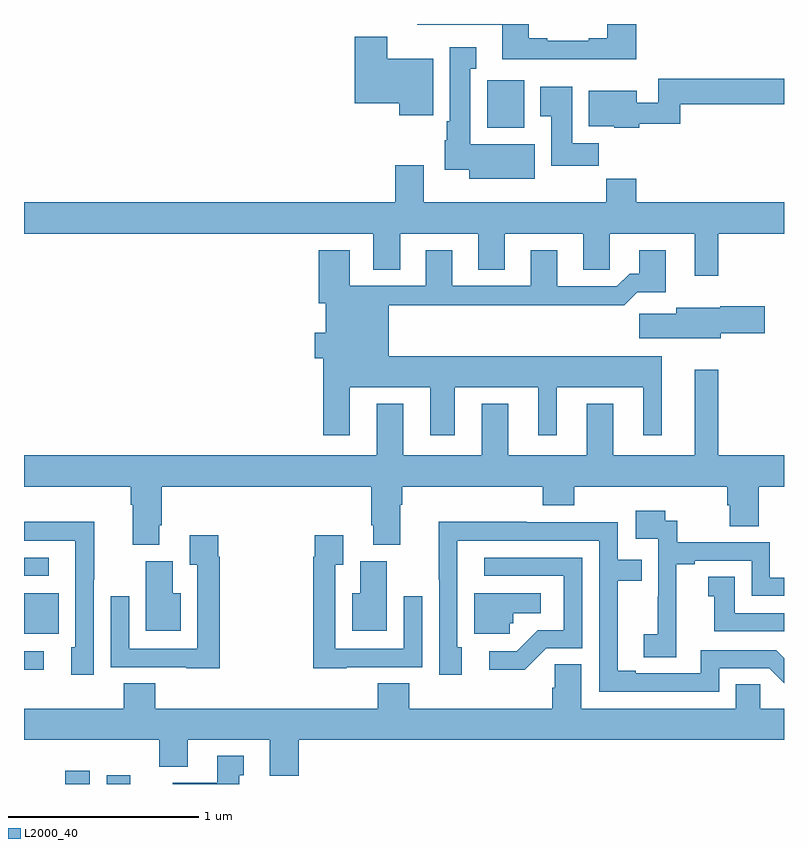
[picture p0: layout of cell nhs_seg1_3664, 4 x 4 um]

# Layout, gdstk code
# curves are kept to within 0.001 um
import gdstk
lib = gdstk.Library(unit=1e-6, precision=1e-09)
def R(c, l, rs):  # rectangles x0, y0, x1, y1
    for r in rs: c.add(gdstk.rectangle(r[:2], r[2:], *l))
def P(c, l, *ps):  # polygons
    for p in ps: c.add(gdstk.Polygon(p, *l))
L2000_40 = (2000, 40)

nhs_seg1_3664 = lib.new_cell('nhs_seg1_3664')
R(nhs_seg1_3664, L2000_40, [(311.216,518.199,311.347,518.269), (311.435,518.199,311.56,518.245), (311,518.801,311.104,518.898), (311,518.991,311.182,519.202), (311,519.294,311.131,519.39), (313.437,521.654,313.633,521.904)])
P(nhs_seg1_3664, L2000_40, [(314.222,522.199),(314.069,522.199),(314.069,522.124),(313.973,522.124),(313.973,522.111),(313.753,522.111),(313.753,522.124),(313.657,522.124),(313.657,522.199),(312.96,522.199),(312.96,522.197),(313.069,522.197),(313.069,522.195),(313.517,522.195),(313.517,522.014),(314.222,522.014)],
  [(313.153,522.016),(312.913,522.016),(312.913,522.132),(312.74,522.132),(312.74,521.783),(312.974,521.783),(312.974,521.72),(313.153,521.72)],
  [(313.687,521.566),(313.348,521.566),(313.348,521.963),(313.381,521.963),(313.381,522.076),(313.241,522.076),(313.241,521.686),(313.226,521.686),(313.226,521.586),(313.214,521.586),(313.214,521.432),(313.343,521.432),(313.343,521.384),(313.687,521.384)],
  [(314.237,521.673),(314.453,521.673),(314.453,521.776),(315,521.776),(315,521.912),(314.337,521.912),(314.337,521.784),(314.224,521.784),(314.224,521.848),(313.973,521.848),(313.973,521.66),(314.106,521.66),(314.106,521.654),(314.237,521.654)],
  [(314.024,521.572),(313.885,521.572),(313.885,521.869),(313.718,521.869),(313.718,521.713),(313.775,521.713),(313.775,521.454),(314.024,521.454)],
  [(314.653,521.096),(315,521.096),(315,521.26),(314.222,521.26),(314.222,521.384),(314.065,521.384),(314.065,521.26),(313.105,521.26),(313.105,521.455),(312.953,521.455),(312.953,521.26),(311,521.26),(311,521.096),(312.839,521.096),(312.839,520.906),(312.979,520.906),(312.979,521.096),(313.391,521.096),(313.391,520.906),(313.531,520.906),(313.531,521.096),(313.943,521.096),(313.943,520.906),(314.082,520.906),(314.082,521.096),(314.531,521.096),(314.531,520.875),(314.653,520.875)],
  [(312.715,520.286),(313.139,520.286),(313.139,520.035),(313.267,520.035),(313.267,520.286),(313.706,520.286),(313.706,520.035),(313.804,520.035),(313.804,520.286),(314.258,520.286),(314.258,520.035),(314.356,520.035),(314.356,520.45),(312.919,520.45),(312.919,520.72),(313.903,520.72),(313.903,520.718),(314.159,520.718),(314.228,520.787),(314.377,520.787),(314.377,521.008),(314.237,521.008),(314.237,520.885),(314.188,520.885),(314.121,520.818),(313.807,520.818),(313.807,521.008),(313.667,521.008),(313.667,520.821),(313.255,520.821),(313.255,521.008),(313.115,521.008),(313.115,520.821),(312.715,520.821),(312.715,521.008),(312.551,521.008),(312.551,520.728),(312.587,520.728),(312.587,520.573),(312.53,520.573),(312.53,520.439),(312.575,520.439),(312.575,520.035),(312.715,520.035)],
  [(314.668,520.571),(314.899,520.571),(314.899,520.713),(314.664,520.713),(314.664,520.705),(314.432,520.705),(314.432,520.673),(314.238,520.673),(314.238,520.544),(314.668,520.544)],
  [(311,519.764),(311.561,519.764),(311.561,519.668),(311.573,519.668),(311.573,519.457),(311.713,519.457),(311.713,519.562),(311.726,519.562),(311.726,519.764),(312.827,519.764),(312.827,519.562),(312.839,519.562),(312.839,519.457),(312.979,519.457),(312.979,519.668),(312.992,519.668),(312.992,519.764),(313.73,519.764),(313.73,519.665),(313.895,519.665),(313.895,519.764),(314.702,519.764),(314.702,519.666),(314.714,519.666),(314.714,519.556),(314.867,519.556),(314.867,519.764),(315,519.764),(315,519.928),(314.653,519.928),(314.653,520.378),(314.531,520.378),(314.531,519.928),(314.101,519.928),(314.101,520.201),(313.961,520.201),(313.961,519.928),(313.549,519.928),(313.549,520.201),(313.409,520.201),(313.409,519.928),(312.997,519.928),(312.997,520.201),(312.857,520.201),(312.857,519.928),(311,519.928)],
  [(314.432,518.977),(314.434,518.977),(314.434,519.355),(314.53,519.355),(314.53,519.375),(314.829,519.375),(314.829,519.189),(315,519.189),(315,519.285),(314.925,519.285),(314.925,519.471),(314.438,519.471),(314.438,519.585),(314.376,519.585),(314.376,519.637),(314.22,519.637),(314.22,519.489),(314.337,519.489),(314.337,519.185),(314.336,519.185),(314.336,518.988),(314.262,518.988),(314.262,518.866),(314.432,518.866)],
  [(314.658,518.808),(314.922,518.808),(315,518.73),(315,518.862),(314.958,518.904),(314.562,518.904),(314.562,518.781),(314.221,518.781),(314.221,518.796),(314.125,518.796),(314.125,519.27),(314.252,519.27),(314.252,519.378),(314.124,519.378),(314.124,519.576),(313.646,519.576),(313.646,519.578),(313.184,519.578),(313.185,518.775),(313.303,518.775),(313.303,518.919),(313.281,518.919),(313.281,519.48),(314.028,519.48),(314.028,518.685),(314.658,518.685)],
  [(311.367,519.274),(311.369,519.274),(311.369,519.578),(311,519.578),(311,519.48),(311.271,519.48),(311.271,518.919),(311.249,518.919),(311.249,518.775),(311.367,518.775)],
  [(312.699,518.814),(313.095,518.814),(313.095,519.187),(312.999,519.187),(312.999,518.91),(312.639,518.91),(312.639,519.352),(312.679,519.352),(312.679,519.508),(312.531,519.508),(312.531,519.395),(312.523,519.395),(312.523,518.807),(312.699,518.807)],
  [(312.029,519.395),(312.022,519.395),(312.022,519.508),(311.873,519.508),(311.873,519.352),(311.913,519.352),(311.913,518.91),(311.553,518.91),(311.553,519.187),(311.457,519.187),(311.457,518.814),(311.853,518.814),(311.853,518.807),(312.029,518.807)],
  [(313.749,518.913),(313.938,518.913),(313.938,519.39),(313.422,519.39),(313.422,519.294),(313.842,519.294),(313.842,519.009),(313.704,519.009),(313.593,518.898),(313.449,518.898),(313.449,518.801),(313.636,518.801)],
  [(312.91,519.371),(312.77,519.371),(312.77,519.202),(312.728,519.202),(312.728,519.005),(312.91,519.005)],
  [(311.824,519.202),(311.782,519.202),(311.782,519.371),(311.642,519.371),(311.642,519.005),(311.824,519.005)],
  [(315,519.099),(314.74,519.099),(314.74,519.29),(314.6,519.29),(314.6,519.187),(314.633,519.187),(314.633,519.003),(315,519.003)],
  [(313.557,519.045),(313.575,519.045),(313.575,519.098),(313.72,519.098),(313.72,519.202),(313.37,519.202),(313.37,518.991),(313.557,518.991)],
  [(312.446,518.432),(315,518.432),(315,518.596),(314.874,518.596),(314.874,518.723),(314.747,518.723),(314.747,518.596),(313.933,518.596),(313.933,518.828),(313.794,518.828),(313.794,518.705),(313.781,518.705),(313.781,518.596),(313.028,518.596),(313.028,518.729),(312.863,518.729),(312.863,518.596),(311.69,518.596),(311.69,518.729),(311.525,518.729),(311.525,518.596),(311,518.596),(311,518.432),(311.711,518.432),(311.711,518.291),(311.863,518.291),(311.863,518.432),(312.293,518.432),(312.293,518.243),(312.446,518.243)],
  [(312.133,518.244),(312.157,518.244),(312.157,518.347),(312.017,518.347),(312.017,518.206),(311.782,518.206),(311.782,518.199),(312.133,518.199)])

lib.write_gds('nhs_seg1_3664.gds')
